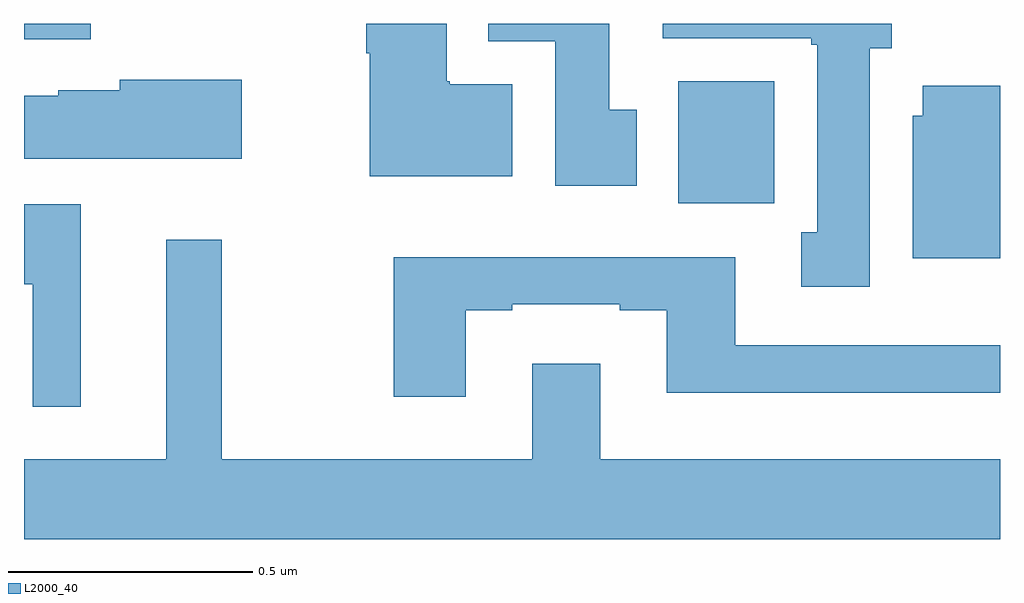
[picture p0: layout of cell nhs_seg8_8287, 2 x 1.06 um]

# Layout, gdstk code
import gdstk
lib = gdstk.Library(unit=1e-6, precision=1e-09)
def R(c, l, rs):  # rectangles x0, y0, x1, y1
    for r in rs: c.add(gdstk.rectangle(r[:2], r[2:], *l))
def P(c, l, *ps):  # polygons
    for p in ps: c.add(gdstk.Polygon(p, *l))
L2000_40 = (2000, 40)

nhs_seg8_8287 = lib.new_cell('nhs_seg8_8287')
R(nhs_seg8_8287, L2000_40, [(222.341,1106.532,222.537,1106.782), (221,1106.868,221.137,1106.9)])
P(nhs_seg8_8287, L2000_40, [(222.001,1106.776),(221.872,1106.776),(221.872,1106.782),(221.866,1106.782),(221.866,1106.9),(221.701,1106.9),(221.701,1106.84),(221.708,1106.84),(221.708,1106.588),(222.001,1106.588)],
  [(222.733,1106.85),(222.778,1106.85),(222.778,1106.9),(222.309,1106.9),(222.309,1106.87),(222.613,1106.87),(222.613,1106.857),(222.626,1106.857),(222.626,1106.473),(222.593,1106.473),(222.593,1106.361),(222.733,1106.361)],
  [(222.256,1106.724),(222.199,1106.724),(222.199,1106.9),(221.951,1106.9),(221.951,1106.864),(222.089,1106.864),(222.089,1106.568),(222.256,1106.568)],
  [(221.446,1106.785),(221.196,1106.785),(221.196,1106.764),(221.07,1106.764),(221.07,1106.753),(221,1106.753),(221,1106.624),(221.446,1106.624)],
  [(223,1106.773),(222.842,1106.773),(222.842,1106.712),(222.821,1106.712),(222.821,1106.42),(223,1106.42)],
  [(221.116,1106.53),(221,1106.53),(221,1106.366),(221.018,1106.366),(221.018,1106.115),(221.116,1106.115)],
  [(223,1106.008),(222.181,1106.008),(222.181,1106.203),(222.041,1106.203),(222.041,1106.008),(221.405,1106.008),(221.405,1106.458),(221.291,1106.458),(221.291,1106.008),(221,1106.008),(221,1105.844),(223,1105.844)],
  [(221.905,1106.313),(222.001,1106.313),(222.001,1106.325),(222.221,1106.325),(222.221,1106.313),(222.317,1106.313),(222.317,1106.144),(223,1106.144),(223,1106.241),(222.457,1106.241),(222.457,1106.422),(221.758,1106.422),(221.758,1106.136),(221.905,1106.136)])

lib.write_gds('nhs_seg8_8287.gds')
